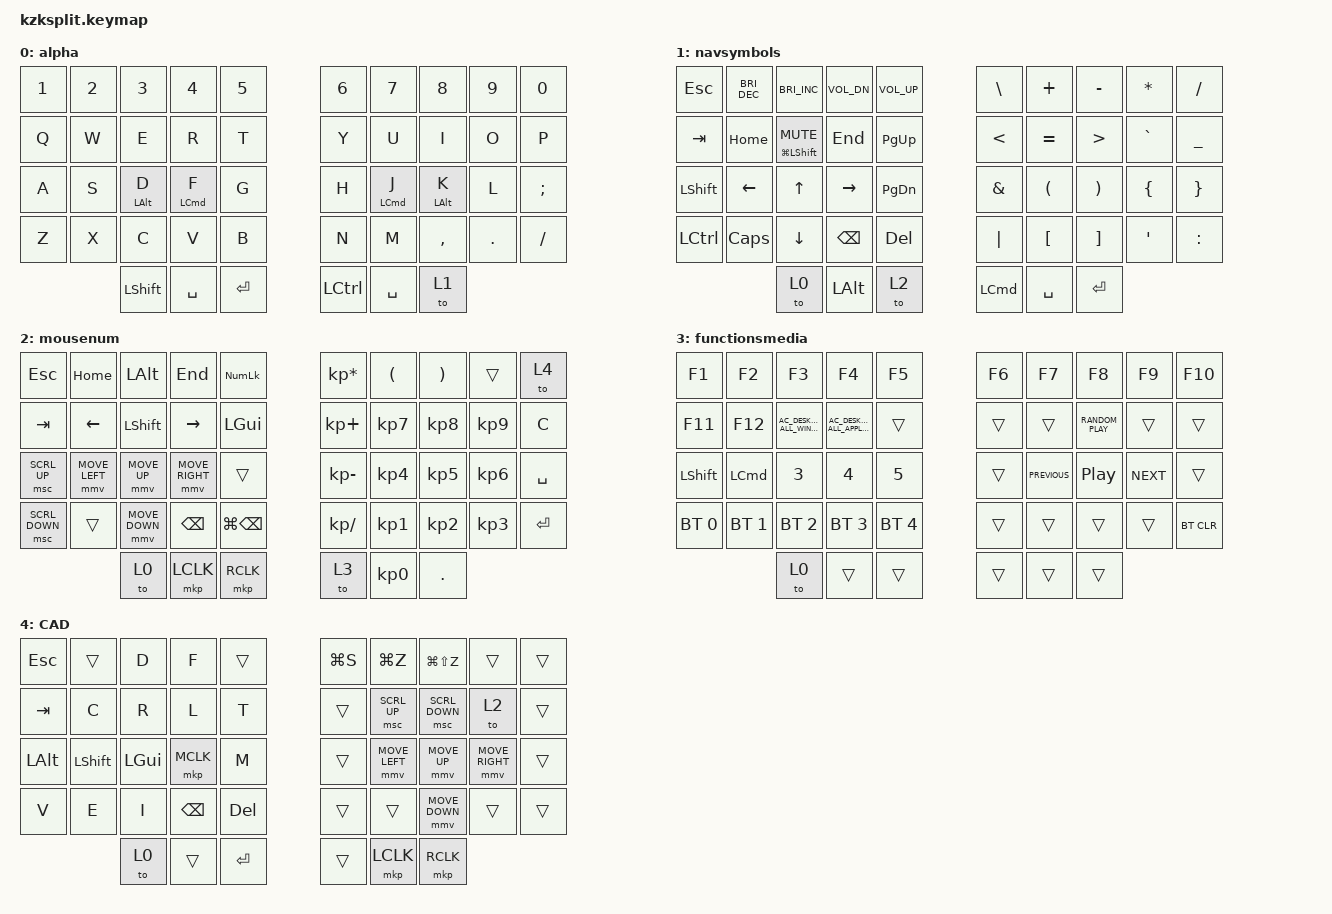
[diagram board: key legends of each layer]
/*
 * Copyright (c) 2021 The ZMK Contributors
 *
 * SPDX-License-Identifier: MIT
 */

#include <behaviors/mouse_keys.dtsi>
#include <behaviors.dtsi>
#include <dt-bindings/zmk/bt.h>
#include <dt-bindings/zmk/keys.h>
#include <dt-bindings/zmk/mouse.h>

&mt {
    flavor = "tap-preferred";
    tapping-term-ms = <200>;
};

&mmv {
};

&msc {
};

/ {
    keymap {
        compatible = "zmk,keymap";

        alpha {
            bindings = <
&kp N1  &kp N2  &kp N3          &kp N4              &kp N5   &kp N6     &kp N7              &kp N8          &kp N9   &kp N0
&kp Q   &kp W   &kp E           &kp R               &kp T    &kp Y      &kp U               &kp I           &kp O    &kp P
&kp A   &kp S   &mt LEFT_ALT D  &mt LEFT_COMMAND F  &kp G    &kp H      &mt LEFT_COMMAND J  &mt LEFT_ALT K  &kp L    &kp SEMI
&kp Z   &kp X   &kp C           &kp V               &kp B    &kp N      &kp M               &kp COMMA       &kp DOT  &kp FSLH
                &kp LEFT_SHIFT  &kp SPACE           &kp RET  &kp LCTRL  &kp SPACE           &to 1
            >;
        };

        navsymbols {
            bindings = <
&kp ESCAPE      &kp C_BRIGHTNESS_DEC  &kp C_BRIGHTNESS_INC       &kp C_VOL_DN   &kp C_VOLUME_UP  &kp BSLH          &kp PLUS          &kp MINUS          &kp ASTRK         &kp FSLH
&kp TAB         &kp HOME              &mt LG(LEFT_SHIFT) K_MUTE  &kp END        &kp PAGE_UP      &kp LESS_THAN     &kp EQUAL         &kp GREATER_THAN   &kp GRAVE         &kp UNDER
&kp LEFT_SHIFT  &kp LEFT              &kp UP                     &kp RIGHT      &kp PAGE_DOWN    &kp AMPS          &kp LPAR          &kp RPAR           &kp LEFT_BRACE    &kp RIGHT_BRACE
&kp LCTRL       &kp CAPSLOCK          &kp DOWN                   &kp BACKSPACE  &kp DEL          &kp PIPE          &kp LEFT_BRACKET  &kp RIGHT_BRACKET  &kp SINGLE_QUOTE  &kp COLON
                                      &to 0                      &kp LEFT_ALT   &to 2            &kp LEFT_COMMAND  &kp SPACE         &kp RET
            >;
        };

        mousenum {
            bindings = <
&kp ESC         &kp HOME        &kp LALT        &kp END          &kp KP_NUM         &kp KP_ASTERISK  &kp LPAR         &kp RPAR         &trans           &to 4
&kp TAB         &kp LEFT        &kp LSHFT       &kp RIGHT        &kp LGUI           &kp KP_PLUS      &kp KP_NUMBER_7  &kp KP_NUMBER_8  &kp KP_NUMBER_9  &kp C
&msc SCRL_UP    &mmv MOVE_LEFT  &mmv MOVE_UP    &mmv MOVE_RIGHT  &trans             &kp KP_MINUS     &kp KP_NUMBER_4  &kp KP_NUMBER_5  &kp KP_NUMBER_6  &kp SPACE
&msc SCRL_DOWN  &trans          &mmv MOVE_DOWN  &kp BACKSPACE    &kp LG(BACKSPACE)  &kp KP_DIVIDE    &kp KP_NUMBER_1  &kp KP_NUMBER_2  &kp KP_NUMBER_3  &kp RET
                                &to 0           &mkp LCLK        &mkp RCLK          &to 3            &kp KP_NUMBER_0  &kp DOT
            >;
        };

        functionsmedia {
            bindings = <
&kp F1          &kp F2            &kp F3                             &kp F4                                  &kp F5        &kp F6  &kp F7          &kp F8             &kp F9      &kp F10
&kp F11         &kp F12           &kp C_AC_DESKTOP_SHOW_ALL_WINDOWS  &kp C_AC_DESKTOP_SHOW_ALL_APPLICATIONS  &trans        &trans  &trans          &kp C_RANDOM_PLAY  &trans      &trans
&kp LEFT_SHIFT  &kp LEFT_COMMAND  &kp NUMBER_3                       &kp NUMBER_4                            &kp N5        &trans  &kp C_PREVIOUS  &kp C_PLAY_PAUSE   &kp C_NEXT  &trans
&bt BT_SEL 0    &bt BT_SEL 1      &bt BT_SEL 2                       &bt BT_SEL 3                            &bt BT_SEL 4  &trans  &trans          &trans             &trans      &bt BT_CLR
                                  &to 0                              &trans                                  &trans        &trans  &trans          &trans
            >;
        };

        CAD {
            bindings = <
&kp ESC   &trans     &kp D         &kp F          &trans      &kp LG(S)  &kp LG(Z)       &kp LG(LS(Z))     &trans           &trans
&kp TAB   &kp C      &kp R         &kp L          &kp T       &trans     &msc SCRL_UP  &msc SCRL_DOWN  &to 2            &trans
&kp LALT  &kp LSHFT  &kp LEFT_GUI  &mkp MCLK      &kp M       &trans     &mmv MOVE_LEFT  &mmv MOVE_UP      &mmv MOVE_RIGHT  &trans
&kp V     &kp E      &kp I         &kp BACKSPACE  &kp DELETE  &trans     &trans          &mmv MOVE_DOWN    &trans           &trans
                     &to 0         &trans         &kp RET     &trans     &mkp LCLK       &mkp RCLK
            >;
        };
    };
};
